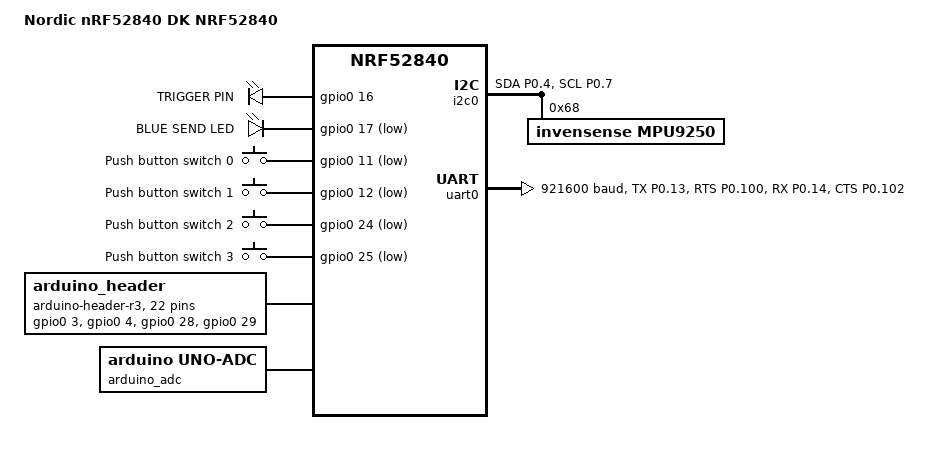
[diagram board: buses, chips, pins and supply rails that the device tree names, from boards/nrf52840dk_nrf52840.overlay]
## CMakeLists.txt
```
# SPDX-License-Identifier: Apache-2.0

cmake_minimum_required(VERSION 3.20.0)
set(BOARD nrf52840dk_nrf52840)
# set(DTC_OVERLAY_FILE overlay_SSI.dts)
find_package(Zephyr REQUIRED HINTS $ENV{ZEPHYR_BASE})
project(imu_cam_sync)

target_sources(app PRIVATE src/main.c)
target_sources(app PRIVATE src/uart_com.c)
target_sources(app PRIVATE src/imu.c)
target_sources(app PRIVATE src/trigger.c)
target_sources(app PRIVATE src/app_state.c)
```

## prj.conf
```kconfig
CONFIG_GPIO=y
# CONFIG_GPIO=y
# STEP 2 - Enable the serial driver in asynchronous mode
CONFIG_SERIAL=y
CONFIG_UART_ASYNC_API=y
CONFIG_SYSTEM_WORKQUEUE_STACK_SIZE=4096

CONFIG_PRINTK=y


#NOTICE: without this zephyr will not boot
CONFIG_BOARD_ENABLE_DCDC=n

CONFIG_SERIAL=y
#CONFIG_UART_INTERRUPT_DRIVEN=y
CONFIG_RTT_CONSOLE=y
CONFIG_USE_SEGGER_RTT=y
CONFIG_STDOUT_CONSOLE=y
CONFIG_UART_CONSOLE=n


#LOGS
CONFIG_LOG=y
CONFIG_LOG_DEFAULT_LEVEL=4


CONFIG_HEAP_MEM_POOL_SIZE=2048
CONFIG_MAIN_STACK_SIZE=4096

##mpu9250
CONFIG_I2C=y
CONFIG_SENSOR=y
CONFIG_MPU9250=y
CONFIG_MPU9250_TRIGGER_NONE=y
CONFIG_MPU9250_MAGN_EN=y
# CONFIG_MPU9250_TRIGGER=n
CONFIG_CBPRINTF_FP_SUPPORT=y
CONFIG_CBPRINTF_FULL_INTEGRAL=y


CONFIG_DEBUG=y
CONFIG_DEBUG_THREAD_INFO=y
CONFIG_DEBUG_OPTIMIZATIONS=y
```

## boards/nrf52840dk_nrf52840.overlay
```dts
/ {
	model = "Nordic nRF52840 DK NRF52840";
	compatible = "nordic,nrf52840-dk-nrf52840";

	chosen {
		zephyr,console = &uart0;
		zephyr,shell-uart = &uart0;
		zephyr,uart-mcumgr = &uart0;
		zephyr,bt-mon-uart = &uart0;
		zephyr,bt-c2h-uart = &uart0;
		zephyr,sram = &sram0;
		zephyr,flash = &flash0;
		zephyr,code-partition = &slot0_partition;
	};

	leds {
		compatible = "gpio-leds";
		led0: led_0 {
			gpios = <&gpio0 16 GPIO_ACTIVE_HIGH>;
			label = "TRIGGER PIN";
		};
		led1: led_1 {
			gpios = <&gpio0 17 GPIO_ACTIVE_LOW>;
			label = "BLUE SEND LED";
		};

	
	};

	// pwmleds {
	// 	compatible = "pwm-leds";
	// 	pwm_led0: pwm_led_0 {
	// 		pwms = <&pwm0 13>;
	// 	};
	// };

	buttons {
		compatible = "gpio-keys";
		button0: button_0 {
			gpios = <&gpio0 11 (GPIO_PULL_UP | GPIO_ACTIVE_LOW)>;
			label = "Push button switch 0";
		};
		button1: button_1 {
			gpios = <&gpio0 12 (GPIO_PULL_UP | GPIO_ACTIVE_LOW)>;
			label = "Push button switch 1";
		};
		button2: button_2 {
			gpios = <&gpio0 24 (GPIO_PULL_UP | GPIO_ACTIVE_LOW)>;
			label = "Push button switch 2";
		};
		button3: button_3 {
			gpios = <&gpio0 25 (GPIO_PULL_UP | GPIO_ACTIVE_LOW)>;
			label = "Push button switch 3";
		};
	};

	arduino_header: connector {
		compatible = "arduino-header-r3";
		#gpio-cells = <2>;
		gpio-map-mask = <0xffffffff 0xffffffc0>;
		gpio-map-pass-thru = <0 0x3f>;
		gpio-map = <0 0 &gpio0 3 0>,	/* A0 */
			   <1 0 &gpio0 4 0>,	/* A1 */
			   <2 0 &gpio0 28 0>,	/* A2 */
			   <3 0 &gpio0 29 0>,	/* A3 */
			   <4 0 &gpio0 30 0>,	/* A4 */
			   <5 0 &gpio0 31 0>,	/* A5 */
			   <6 0 &gpio1 1 0>,	/* D0 */
			   <7 0 &gpio1 2 0>,	/* D1 */
			   <8 0 &gpio1 3 0>,	/* D2 */
			   <9 0 &gpio1 4 0>,	/* D3 */
			   <10 0 &gpio1 5 0>,	/* D4 */
			   <11 0 &gpio1 6 0>,	/* D5 */
			   <12 0 &gpio1 7 0>,	/* D6 */
			   <13 0 &gpio1 8 0>,	/* D7 */
			   <14 0 &gpio1 10 0>,	/* D8 */
			   <15 0 &gpio1 11 0>,	/* D9 */
			   <16 0 &gpio1 12 0>,	/* D10 */
			   <17 0 &gpio1 13 0>,	/* D11 */
			   <18 0 &gpio1 14 0>,	/* D12 */
			   <19 0 &gpio1 15 0>,	/* D13 */
			   <20 0 &gpio0 26 0>,	/* D14 */
			   <21 0 &gpio0 27 0>;	/* D15 */
	};

	arduino_adc: analog-connector {
		compatible = "arduino,uno-adc";
		#io-channel-cells = <1>;
		io-channel-map = <0 &adc 1>,	/* A0 = P0.3 = AIN1 */
				 <1 &adc 2>,	/* A1 = P0.4 = AIN2 */
				 <2 &adc 4>,	/* A2 = P0.28 = AIN4 */
				 <3 &adc 5>,	/* A3 = P0.29 = AIN5 */
				 <4 &adc 6>,	/* A4 = P0.30 = AIN6 */
				 <5 &adc 7>;	/* A5 = P0.31 = AIN7 */
	};

	/* These aliases are provided for compatibility with samples */
	aliases {
		led0 = &led0;
		led1 = &led1;
		// pwm-led0 = &pwm_led0;
		sw0 = &button0;
		sw1 = &button1;
		sw2 = &button2;
		sw3 = &button3;
	};
};

// https://github.com/zephyrproject-rtos/zephyr/issues/27915
// &spi1 {
// 	compatible = "nordic,nrf-spi";
// 	status = "okay";
// 	// draeger module (new):
// 	sck-pin = <32>;
// 	mosi-pin = <11>;
// 	miso-pin = <12>;
// 	cs-gpios = <&gpio1 9 GPIO_ACTIVE_LOW>;
// 	// draeger module (telit):
// //	sck-pin = <6>;
// //	mosi-pin = <14>;
// //	miso-pin = <5>;
// //	cs-gpios = <&gpio0 16 GPIO_ACTIVE_LOW>;
//     // eval board:
// //	sck-pin = <25>;
// //	mosi-pin = <23>;
// //	miso-pin = <24>;
// //	cs-gpios = <&gpio0 18 GPIO_ACTIVE_LOW>;
// 	lora0: sx1261@0 {
// 		compatible = "semtech,sx1261";
// 		reg = <0>;
// 		label = "lora0";
// 		// -- draeger module (new):
// 		reset-gpios = <&gpio0 2 GPIO_ACTIVE_LOW>;
// 		busy-gpios = <&gpio0 28 GPIO_ACTIVE_HIGH>;
// 		dio1-gpios = <&gpio0 5 GPIO_ACTIVE_HIGH>;
// 		spi-max-frequency = <1000000>;
// 		status = "okay";
// 		dio2-tx-enable;
// 	};
// };

&pinctrl {
    i2c0_default_alt: i2c1_default_alt {
       group1 {
          psels = <NRF_PSEL(TWIM_SDA, 0, 4)>,
                  <NRF_PSEL(TWIM_SCL, 0, 7)>;
       };
    };
    i2c0_sleep_alt: i2c1_sleep_alt {
       group1 {
          psels = <NRF_PSEL(TWIM_SDA, 0, 4)>,
                  <NRF_PSEL(TWIM_SCL, 0, 7)>;
          low-power-enable;
       };
    };
 };
 &i2c0 {
	status = "okay";
	compatible = "nordic,nrf-twim";
	pinctrl-0 = < &i2c0_default_alt>;
	pinctrl-1 = < &i2c0_sleep_alt>;
	pinctrl-names = "default", "sleep";

	mpu9250@68 {
		compatible = "invensense,mpu9250";
		friendly-name = "mpu9250";
		reg = <0x68>;
		status = "okay";
	    // label = "invensense_mpu9250";
		// int-gpios = <&gpio0 11 GPIO_ACTIVE_HIGH>;
		accel-dlpf="218.1";
		gyro-sr-div=<1>;
		gyro-dlpf=<250>;
		gyro-fs=<2000>;
		accel-fs=<4>;
	};
};




&pinctrl {
	uart0_default: uart0_default {
		group1 {
			psels = <NRF_PSEL(UART_TX, 0, 13)>,
				<NRF_PSEL(UART_RTS, 0, 100)>;
				
		};
		group2 {
			psels = <NRF_PSEL(UART_RX, 0, 14)>,
				<NRF_PSEL(UART_CTS, 0, 102)>;
			bias-pull-up;
		};
	};

	uart0_sleep: uart0_sleep {
		group1 {
			psels = <NRF_PSEL(UART_TX, 0, 13)>,
				<NRF_PSEL(UART_RX, 0, 14)>,
				<NRF_PSEL(UART_RTS, 0, 100)>,
				<NRF_PSEL(UART_CTS, 0, 102)>;
			low-power-enable;
		};
	};
};


&uart0 {
	status = "okay";
	pinctrl-0 = <&uart0_default>;
	pinctrl-1 = <&uart0_sleep>;
	current-speed = < 921600 >;
	parity = "none";
	
};
```

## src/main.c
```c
#include "imu.h"
#include "trigger.h"
#include "uart_com.h"
#include <SEGGER_RTT.h>
#include <zephyr/devicetree.h>
#include <zephyr/drivers/gpio.h>
#include <zephyr/kernel.h>
#include <zephyr/sys/printk.h>

#include "app_state.h"

// define imu_read_timer

void main(void) {

  SEGGER_RTT_Init();
  k_msleep(3000);
  printk("[main.c/main] starting imu driver ....\n");

  int err = 0;
  err = init_imu();
  if (err) {
    while (1) {
      printk("[main.c/main] ERROR: init_imu failed with error %d\n", err);
      k_sleep(K_SECONDS(5));
    }
  }

  err = init_uart_com();
  if (err) {
    while (1) {
      printk("[main.c/main] ERROR: init_uart_com failed with error %d\n", err);
      k_sleep(K_SECONDS(5));
    }
  }
  err = init_trigger_dev();
  if (err) {
    while (1) {
      printk("[main.c/main] ERROR: init_trigger_dev failed with error %d\n",
             err);
      k_sleep(K_SECONDS(5));
    }
  }
  set_app_initialized(true);

  for (;;) {
    k_sleep(K_SECONDS(120));
  }
  // k_sleep(Z_TIMEOUT_US((uint32_t)(2471)));
}
```

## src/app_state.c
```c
#include "app_state.h"

struct app_state_t app_state = {
    .imu_seq = 0,
    .trigger_seq = 0,
    .trigger_state = TRIGGER_STATE_STOP,
    .error = NO_ERROR,
    .initialized = false,
    .exposure = 12,
    .next_scheduled_imu_trig_read = 0,
    .imu_buff1 =
        {
            .data = {0},
            .state = IMU_BUFF_STATE_SENT,
            .len = 0,
            .timestamp = 0,
            .trig_seq = 0,
            .trig_timestamp = 0,
        },
    .imu_buff2 =
        {
            .data = {0},
            .state = IMU_BUFF_STATE_SENT,
            .len = 0,
            .timestamp = 0,
            .trig_seq = 0,
            .trig_timestamp = 0,
        },
};

void get_current_state(app_state_t *state) {
  memcpy(state, &app_state, sizeof(app_state_t));
};

void set_current_state(app_state_t *state) {
  memcpy(&app_state, state, sizeof(app_state_t));
};

uint64_t get_next_scheduled_imu_trig_read() {
  return app_state.next_scheduled_imu_trig_read;
}

void set_next_scheduled_imu_trig_read(uint64_t next) {
  app_state.next_scheduled_imu_trig_read = next;
}
void set_buffer1(uint8_t *imu_data, size_t len) {
  memcpy(app_state.imu_buff1.data, imu_data, len);
  app_state.imu_buff1.len = len;
};
void get_buffer1(uint8_t *imu_data) {
  memcpy(imu_data, app_state.imu_buff1.data, app_state.imu_buff1.len);
}
size_t get_buffer1_len() { return app_state.imu_buff1.len; }
struct imu_buff_t *get_buffer1_ptr() { return &app_state.imu_buff1; }

void set_buffer1_state(uint8_t state) { app_state.imu_buff1.state = state; };
uint8_t get_buffer1_state() { return app_state.imu_buff1.state; };
struct imu_buff_t *get_buffer2_ptr() { return &app_state.imu_buff2; }

uint32_t get_buffer1_timestamp() { return app_state.imu_buff1.timestamp; }
uint64_t get_buffer1_trig_seq() { return app_state.imu_buff1.trig_seq; }
uint32_t get_buffer1_trig_timestamp() {
  return app_state.imu_buff1.trig_timestamp;
}

void set_buffer2(uint8_t *imu_data, size_t len) {
  memcpy(app_state.imu_buff2.data, imu_data, len);
  app_state.imu_buff2.len = len;
};
void get_buffer2(uint8_t *imu_data) {
  memcpy(imu_data, app_state.imu_buff2.data, app_state.imu_buff2.len);
}
size_t get_buffer2_len() { return app_state.imu_buff2.len; }

void set_buffer2_state(uint8_t state) { app_state.imu_buff2.state = state; };
uint8_t get_buffer2_state() { return app_state.imu_buff2.state; };

/***
 * @brief Set trigger state
 * @param state TRIGGER_STATE_STOP or TRIGGER_STATE_START
 * @return state if state is valid, otherwise return current state
 */
uint8_t set_trigger_state(uint8_t state) {
  if (state == TRIGGER_STATE_STOP || state == TRIGGER_STATE_START) {
    app_state.trigger_state = state;
    return state;
  } else {
    return app_state.trigger_state;
  }
};

/***
 * @brief Set exposure time in milliseconds
 * @param exposure_ms Exposure time in milliseconds
 * @return exposure_ms if exposure_ms is in range, otherwise return min or max
 */
uint32_t set_exposure(uint32_t exposure_ms) {
  uint32_t exp_min = IMU_READ_TIME_US / 1000;
  uint32_t exp_max = (TRIGGER_INTERVAL_US - 500) / 1000;
  if (exposure_ms < exp_min) {
    app_state.exposure = exp_min;
    return exp_min;
  } else if (exposure_ms > exp_max) {
    app_state.exposure = exp_max;
    return exp_max;
  } else {
    app_state.exposure = exposure_ms;
    return exposure_ms;
  }
}

uint32_t get_exposure() { return app_state.exposure; };
uint8_t get_trigger_state() { return app_state.trigger_state; };

uint64_t increase_imu_seq() {
  app_state.imu_seq++;
  return app_state.imu_seq;
};
uint64_t increase_trigger_seq() {
  app_state.trigger_seq++;
  return app_state.trigger_seq;
};
uint64_t get_imu_seq() { return app_state.imu_seq; };
uint64_t get_trigger_seq() { return app_state.trigger_seq; };

bool is_app_initialized() { return app_state.initialized; };
void set_app_initialized(bool state) { app_state.initialized = state; };
```

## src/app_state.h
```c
#ifndef APP_STATE_H_
#define APP_STATE_H_

#include <SEGGER_RTT.h>
#include <stddef.h>
#include <stdio.h>
#include <string.h>
#include <zephyr/kernel.h>
#include <zephyr/logging/log.h>
#include <zephyr/sys/printk.h>

#define TOGGLE_DELAY_US 300
#define TRIG_SEQ_DEVISOR 25
#define IMU_READ_TIME_US                                                       \
  2380 // measured experimentally and took an average of 100 readings
#define IMU_DATA_MAX_LEN 128
#define TRIGGER_INTERVAL_US 40 * 1000

#define UART_THREAD_PRIORITY 4
#define IMU_THREAD_PRIORITY 3
#define TRIGGER_THREAD_PRIORITY 2

// define commands
// define trigger commands:
#define CMD_SET_EXPOSURE "CMD_SET_EXPOSURE" // uint16 value
#define CMD_GET_EXPOSURE "CMD_GET_EXPOSURE" // uint16 value
#define CMD_SET_TRIGGER "CMD_SET_TRIGGER"   // uint8 value
#define CMD_GET_TRIGGER "CMD_GET_TRIGGER"   // uint8 value
#define CMD_GET_ERROR "CMD_GET_ERROR"       // uint8 value

// define response headers
#define RESP_SET_EXPOSURE "RESP_SET_EXPOSURE" // uint16 value
#define RESP_GET_EXPOSURE "RESP_GET_EXPOSURE" // uint16 value
#define RESP_SET_TRIGGER "RESP_SET_TRIGGER"   // uint8 value
#define RESP_GET_TRIGGER "RESP_GET_TRIGGER"   // uint8 value
#define RESP_GET_ERROR "RESP_GET_ERROR"       // uint8 value

enum ErrorCodes {
  NO_ERROR,
  UART_ERROR,
  IMU_ERROR,
  TRIGGER_ERROR,
  UNKNOWN_ERROR
};

enum TriggerState {
  TRIGGER_STATE_STOP = 0,
  TRIGGER_STATE_START = 1,
};

enum IMU_Buff_State { IMU_BUFF_STATE_WAITING, IMU_BUFF_STATE_SENT };
struct imu_buff_t {
  uint8_t data[IMU_DATA_MAX_LEN];
  uint8_t state;
  size_t len;
  uint32_t timestamp;
  uint64_t trig_seq;
  uint64_t trig_timestamp;
};
typedef struct app_state_t {
  bool initialized;
  uint8_t error;
  uint8_t trigger_state;
  uint64_t next_scheduled_imu_trig_read;
  uint32_t exposure; // in milliseconds [ms]
  uint64_t imu_seq;
  uint64_t trigger_seq;
  struct imu_buff_t imu_buff1; // has higher priority to send in comp. to
                               // imu_buff2 to use for sending when trigger sent
  struct imu_buff_t imu_buff2; // lower priority to be used for imu_data

} app_state_t;

void get_current_state(app_state_t *state);
void set_current_state(app_state_t *state);

uint64_t get_next_scheduled_imu_trig_read();
void set_next_scheduled_imu_trig_read(uint64_t next);

void set_buffer1(uint8_t *imu_data, size_t len);
void get_buffer1(uint8_t *imu_data);
size_t get_buffer1_len();
uint32_t get_buffer1_timestamp();
uint64_t get_buffer1_trig_seq();
uint32_t get_buffer1_trig_timestamp();
struct imu_buff_t *get_buffer1_ptr();

void set_buffer1_state(uint8_t state);
uint8_t get_buffer1_state();

void set_buffer2(uint8_t *imu_data, size_t len);
void get_buffer2(uint8_t *imu_data);
size_t get_buffer2_len();
struct imu_buff_t *get_buffer2_ptr();

void set_buffer2_state(uint8_t state);
uint8_t get_buffer2_state();

uint8_t set_trigger_state(uint8_t state);
uint8_t get_trigger_state();

uint32_t set_exposure(uint32_t exposure);
uint32_t get_exposure();

uint64_t increase_imu_seq();
uint64_t increase_trigger_seq();

uint64_t get_imu_seq();
uint64_t get_trigger_seq();

bool is_app_initialized();
void set_app_initialized(bool state);

#endif /* APP_STATE_H_ */
```

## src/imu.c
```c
#include "imu.h"
#include "app_state.h"

// LOG_MODULE_DECLARE(imu, LOG_LEVEL_WRN);
static struct k_work_delayable imu_read_work;
const struct device *mpu9250_dev = DEVICE_DT_GET_ONE(invensense_mpu9250);

static inline void encode_int32(int32_t n, uint8_t *bytes) {
  bytes[0] = (n >> 24) & 0xFF;
  bytes[1] = (n >> 16) & 0xFF;
  bytes[2] = (n >> 8) & 0xFF;
  bytes[3] = (n >> 0) & 0xFF;
}

static inline void put_sensor_val_to_buf(const struct sensor_value *val,
                                         uint8_t *buf, int i) {
  // put valX  //  "IMU" + imu_seq + imu_timestamp -> 19 bytes
  encode_int32(val[0].val1, buf + 3 + 16 + 24 * i);
  encode_int32(val[0].val2, buf + 3 + 16 + 24 * i + 4); // +8 bytes
  // put valY
  encode_int32(val[1].val1, buf + 3 + 24 + 24 * i);
  encode_int32(val[1].val2, buf + 3 + 24 + 24 * i + 4); // +8 bytes
  // put valZ
  encode_int32(val[2].val1, buf + 3 + 32 + 24 * i);
  encode_int32(val[2].val2, buf + 3 + 32 + 24 * i + 4); // +8 bytes
}
uint64_t last_imu_read = 0;
int process_mpu9250(bool triggered) {
  if (mpu9250_dev == NULL) {
    printk("mpu9250_dev is NULL");
    return -100;
  }

  uint8_t imu_data[IMU_DATA_MAX_LEN];
  memset(imu_data, 0, IMU_DATA_MAX_LEN);
  // struct sensor_value temperature;
  struct sensor_value accel[3];
  struct sensor_value gyro[3];
  struct sensor_value magn[3];

  uint64_t imu_timestamp = k_ticks_to_us_floor64(k_uptime_ticks());

  // return if last reading happened was less than the time needed to read imu
  // data (IMU_READ_TIME_US) + around 240 us (sending time)
  if (get_next_scheduled_imu_trig_read() - imu_timestamp <
          IMU_READ_TIME_US + 240 &&
      !triggered) {
    // printk("returning early\n");
    return -100;
  } else {
    // printk("diff %lld \n", imu_timestamp - last_imu_read);
    last_imu_read = imu_timestamp;
  }
  int rc = sensor_sample_fetch(mpu9250_dev);
  // uint32_t end = k_cycle_get_32();
  // uint32_t process_delay_us = k_cyc_to_us_floor32(end - start);

  if (rc == 0) {
    rc = sensor_channel_get(mpu9250_dev, SENSOR_CHAN_ACCEL_XYZ, accel);
  }
  if (rc == 0) {
    rc = sensor_channel_get(mpu9250_dev, SENSOR_CHAN_GYRO_XYZ, gyro);
  }
  if (rc == 0) {
    rc = sensor_channel_get(mpu9250_dev, SENSOR_CHAN_MAGN_XYZ, magn);
  }

  if (rc == 0) {
    memcpy(imu_data, "IMU", 3); // 3 bytes
    uint64_t imu_seq = increase_imu_seq();
    sys_put_be64(imu_seq, imu_data + 3);        // + 8 bytes
    sys_put_be64(imu_timestamp, imu_data + 11); // +8 bytes

    for (int i = 0; i < 3; i++) {
      switch (i) {
      case 0:
        put_sensor_val_to_buf(accel, imu_data, i);
        break;
      case 1:
        put_sensor_val_to_buf(gyro, imu_data, i);
        break;
      case 2:
        put_sensor_val_to_buf(magn, imu_data, i);
        break;

      default:
        break;
      }
    }
    // 19 + 24*3 = 91 bytes
    if (triggered) {
      imu_data[91] = triggered;                                   // 1 byte
      sys_put_be64(get_buffer1_trig_seq(), imu_data + 92);        // 8 bytes
      sys_put_be64(get_buffer1_trig_timestamp(), imu_data + 100); // 8 bytes
      set_buffer1(imu_data, 108);
      set_buffer1_state(IMU_BUFF_STATE_WAITING);
      submit_send_trigger();
    } else {
      imu_data[91] = triggered;
      set_buffer2(imu_data, 92);
      set_buffer2_state(IMU_BUFF_STATE_WAITING);
      submit_send_imu();
    }

    // imu_data[80] = triggered;                      // 1 byte
    // encode_int32(process_delay_us, imu_data + 81); // 4 bytes --> 85 bytes
    // printk("process delay [us]: %d\n", process_delay_us);
  }
  return rc;
}

void imu_read_handler_triggered(struct k_work *work) { process_mpu9250(true); }

void schedule_imu_read_triggered(uint32_t delay_us) {
  k_work_reschedule(&imu_read_work, K_USEC(delay_us));
}

int init_imu() {
  printk("initializing imu device \n");
  // const struct device *mpu9250 = DEVICE_DT_GET(DT_NODELABEL(i2c0));

  if (!device_is_ready(mpu9250_dev)) {
    printk("Device mpu9250 is not ready!\n");
    return -1;
  } else {
    printk("Device mpu9250 is ready!\n");
  }
  k_work_init_delayable(&imu_read_work, imu_read_handler_triggered);
  return 0;
}

void imu_entry(void) {
  SEGGER_RTT_Init();
  k_msleep(1000);
  printk("imu thread is started\n");
  while (!is_app_initialized()) {
    k_msleep(800);
  }
  while (1) {
    process_mpu9250(false);
    k_sleep(
        Z_TIMEOUT_US((uint32_t)(2481))); // TODO: see if this time still valid
  }
}

K_THREAD_DEFINE(imu_thread_id, 1024 * 2, imu_entry, NULL, NULL, NULL,
                IMU_THREAD_PRIORITY, 0, 0);
```

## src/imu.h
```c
#ifndef IMU_H_
#define IMU_H_

#include <SEGGER_RTT.h>

#include "uart_com.h"
#include <stddef.h>
#include <stdio.h>
#include <string.h>
#include <sys/_timeval.h>
#include <zephyr/device.h>
#include <zephyr/devicetree.h>
#include <zephyr/drivers/sensor.h>
#include <zephyr/kernel.h>
#include <zephyr/logging/log.h>
#include <zephyr/sys/byteorder.h>
#include <zephyr/sys/printk.h>
#include <zephyr/timing/timing.h>
int init_imu();
typedef uint8_t (*received_data_cb_t)(uint64_t seq, uint32_t delay_us);
int process_mpu9250(bool triggered);
void schedule_imu_read_triggered(uint32_t delay_us);

#endif // IMU_H_
```

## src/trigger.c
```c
#include "trigger.h"
#include "app_state.h"
#include "imu.h"

/* 1000 msec = 1 sec */
#define SLEEP_TIME_MS 1000

/* The devicetree node identifier for the "led0" alias. */
#define TRIGGER_NODE DT_ALIAS(led0)

static const struct gpio_dt_spec trigger =
    GPIO_DT_SPEC_GET(TRIGGER_NODE, gpios);

static struct k_work_delayable trigger_low_work;
static struct k_work_delayable trigger_high_work;

void set_trigger_low_handler(struct k_work *work) {
  gpio_pin_set_dt(&trigger, 0);
}
void set_trigger_high_handler(struct k_work *work) {
  gpio_pin_set_dt(&trigger, 1);
}
void set_trigger_high_now() { gpio_pin_set_dt(&trigger, 1); }

int init_trigger_dev() {

  if (!device_is_ready(trigger.port)) {

    printk("Error: %s device is not ready", trigger.port->name);
    return -1;
  } else {
    printk(" %s device is ready! \n", trigger.port->name);
    int ret = gpio_pin_configure_dt(&trigger, GPIO_OUTPUT_LOW);
    printk(" gpio configure ret: %d \n", ret);
    k_work_init_delayable(&trigger_low_work, set_trigger_low_handler);
    k_work_init_delayable(&trigger_high_work, set_trigger_high_handler);

    return ret;
  }
}

void schedule_trigger_low(uint32_t delay_us) {
  k_work_reschedule(&trigger_low_work, K_USEC(delay_us));
};

void schedule_trigger_high(uint32_t delay_us) {
  k_work_reschedule(&trigger_high_work, K_USEC(delay_us));
};

void trigger_entry(void) {
  // wait for app to be initialized and exposure to be
  printk("[trigger.c] starting trigger_entry \n");
  while (is_app_initialized() == false || get_exposure() == -1) {
    k_msleep(500);
  }
  uint64_t start = 0;
  uint64_t end = 0;
  struct imu_buff_t *buff1 = get_buffer1_ptr();

  if (buff1 == NULL) {
    while (1) {
      printk("[trigger.c] PANIC: buff1 is null!!!\n");
      k_sleep(K_SECONDS(5));
    }
  }
  while (1) {
    if (get_trigger_state() == TRIGGER_STATE_START) {
      start = k_uptime_ticks();
      set_trigger_high_now();
      schedule_trigger_low(TOGGLE_DELAY_US);
      // schedule imu_read
      uint32_t exposure_ms = get_exposure();
      uint32_t time_delay_us =
          (double)exposure_ms * 1000 / 2 - (double)IMU_READ_TIME_US / 2;
      buff1->trig_timestamp = k_ticks_to_us_floor64(start);
      buff1->trig_seq++;
      set_next_scheduled_imu_trig_read(buff1->trig_timestamp + time_delay_us);
      schedule_imu_read_triggered(time_delay_us);
      // TODO: should we already send imu data here?
      k_sleep(K_USEC(TRIGGER_INTERVAL_US - 108));
      // k_msleep(4);
      // end = k_ticks_to_us_floor64(k_uptime_ticks());
      // printk("trigger interval: %d us\n", k_cyc_to_us_floor32(end - start));
    } else {
      // wait and check trigger_state after 10ms
      k_msleep(10);
    }
  }
}

K_THREAD_DEFINE(trigger_thread_id, 2048, trigger_entry, NULL, NULL, NULL,
                TRIGGER_THREAD_PRIORITY, 0, 0);
```

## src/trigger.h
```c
#ifndef TRIGGER_H_
#define TRIGGER_H_

#include <SEGGER_RTT.h>
#include <zephyr/devicetree.h>
#include <zephyr/drivers/gpio.h>
#include <zephyr/kernel.h>
#include <zephyr/sys/printk.h>

int init_trigger_dev();
void schedule_trigger_low(uint32_t delay_us);
void schedule_trigger_high(uint32_t delay_us);
void set_trigger_high_now();
#endif
```

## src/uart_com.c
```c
/**
 * @file uart_com.c
 * @author kurosh zamani (kurosh.zamany@gmail.com)
 * @brief
 * @version 0.1
 * @date 2023-04-20
 *
 * @copyright Copyright (c) 2023
 *
 */

#include "uart_com.h"
#include "app_state.h"

const struct device *uart = DEVICE_DT_GET(DT_NODELABEL(uart0));
static uint8_t tx_buf[TX_BUFF_SIZE] = {0};
static uint8_t rx_buf[RECEIVE_BUFF_SIZE] = {0};
static const uint8_t end_of_msg[END_OF_MSG_LEN] = END_OF_MSG;
static struct received_msg_t received_msg = {.msg = {0}, .len = 0};
static struct k_work send_trigger_work;
static struct k_work send_imu_work;
static struct k_work_delayable send_response_work;

static struct app_response_queue_t response_queue = {
    .head = 0,
    .queue = {
        {.resp = {0}, .len = 0, .state = UART_RESPONSE_SENT},
        {.resp = {0}, .len = 0, .state = UART_RESPONSE_SENT},
        {.resp = {0}, .len = 0, .state = UART_RESPONSE_SENT},
    }};

void send_imu_handler(struct k_work *work) {

  if (get_buffer2_state() == IMU_BUFF_STATE_WAITING) {
    send_data_uart(2);
    set_buffer2_state(IMU_BUFF_STATE_SENT);
  }
}

void send_trigger_handler(struct k_work *work) {
  if (get_buffer1_state() == IMU_BUFF_STATE_WAITING) {
    send_data_uart(1);
    set_buffer1_state(IMU_BUFF_STATE_SENT);
  }
}

void submit_send_imu() { k_work_submit(&send_imu_work); }
void submit_send_trigger() { k_work_submit(&send_trigger_work); }

void send_response_handler(struct k_work *work) {
  bool sent = false;
  for (uint8_t i = 0; i < RESPONSE_QUEUE_SIZE; i++) {
    if (response_queue.queue[i].state == UART_RESPONSE_WAITING) {
      // if no response is sent yet, send it
      if (!sent) {
        // add END_OF_MSG to the end of the response
        size_t len = response_queue.queue[i].len + END_OF_MSG_LEN;
        memcpy(&response_queue.queue[i].resp[response_queue.queue[i].len],
               end_of_msg, END_OF_MSG_LEN);
        uart_tx(uart, response_queue.queue[i].resp, len, TX_BUFF_TIMEOUT_US);
        printk("[uart_com.c] send_response_handler:len= %d,  %s\n",
               response_queue.queue[i].len, response_queue.queue[i].resp);
        k_msleep(10);

        // for (int j = 0; j < len; j++)
        //   printk("0x%x ", response_queue.queue[i].resp[j]);
        // printk("\n");
        // k_msleep(10);
        response_queue.queue[i].state = UART_RESPONSE_SENT;
        memset(response_queue.queue[i].resp, 0,
               sizeof(response_queue.queue[i].resp));
        response_queue.queue[i].len = 0;
        sent = true;
      }

      //  else {
      //   // if already sent once and there is another response in the queue
      //   // schedule it to be sent later
      //   printk("[uart_com.c] send_response_handler: rescheduling the next "
      //          "response item\n");
      //   k_work_reschedule(&send_response_work,
      //   K_MSEC(UART_RESPONSE_DELAY_MS));
      // }
    }
  }
}

static void parse_command(uint8_t *data, size_t len, size_t offset) {

  size_t new_len = received_msg.len + len;
  if (new_len > RECEIVE_BUFF_SIZE) {
    printk("[uart_com.c/parse_command] WARN parse_command: buffer overflow\n");
    // reset the buffer
    received_msg.len = 0;
    memset(received_msg.msg, 0, sizeof(received_msg.msg));
    return;
  }
  memcpy(&received_msg.msg[received_msg.len], data + offset, len);
  received_msg.len = new_len;
  // check if the message is complete
  bool msg_complete = false;
  size_t idx = new_len - END_OF_MSG_LEN;
  if (strncmp(&received_msg.msg[idx], end_of_msg, END_OF_MSG_LEN) == 0)
    msg_complete = true;

  if (!msg_complete) {
    return;
  }

  bool response_scheduled = false;
  printk("\n-------------------------------\n");
  printk("[uart_com.c] parse_command: %s\n", data);
  // for (int i = 0; i < len; i++)
  //   printk("%x ", data[i]);
  // printk("\n");

  if (strncmp(received_msg.msg, CMD_SET_EXPOSURE, 16) == 0) {
    uint32_t exposure_ms = sys_get_be32(&data[16]);
    printk("[uart_com.c] parse_command:CMD_SET_EXPOSURE = %d\n", exposure_ms);
    uint32_t new_exposure = set_exposure(exposure_ms);
    for (uint8_t i = 0; i < RESPONSE_QUEUE_SIZE; i++) {
      if (response_queue.queue[i].state == UART_RESPONSE_SENT) {
        memcpy(response_queue.queue[i].resp, RESP_SET_EXPOSURE, 17); // 17 bytes
        sys_put_be32(new_exposure,
                     &response_queue.queue[i].resp[17]); // + 4 bytes
        response_queue.queue[i].len = 21;
        response_queue.queue[i].state = UART_RESPONSE_WAITING;
        response_scheduled = true;
        break;
      }
    }
  } else if (strncmp(received_msg.msg, CMD_GET_EXPOSURE, 16) == 0) {
    uint32_t exposure_ms = get_exposure();
    printk("[uart_com.c] parse_command:CMD_GET_EXPOSURE = %d\n", exposure_ms);
    for (uint8_t i = 0; i < RESPONSE_QUEUE_SIZE; i++) {
      if (response_queue.queue[i].state == UART_RESPONSE_SENT) {
        memcpy(response_queue.queue[i].resp, RESP_GET_EXPOSURE, 17); // 17 bytes
        sys_put_be32(exposure_ms,
                     &response_queue.queue[i].resp[17]); // + 4 bytes

        response_queue.queue[i].len = 21;
        response_queue.queue[i].state = UART_RESPONSE_WAITING;
        response_scheduled = true;
        break;
      }
    }
  } else if (strncmp(received_msg.msg, CMD_SET_TRIGGER, 15) == 0) {
    uint8_t trigger_mode = received_msg.msg[15];
    printk("[uart_com.c] parse_command:CMD_SET_TRIGGER = %d\n", trigger_mode);
    uint8_t new_trigger_mode = set_trigger_state(trigger_mode);
    for (uint8_t i = 0; i < RESPONSE_QUEUE_SIZE; i++) {
      if (response_queue.queue[i].state == UART_RESPONSE_SENT) {
        memcpy(response_queue.queue[i].resp, RESP_SET_TRIGGER, 16); // 16 bytes
        response_queue.queue[i].resp[16] = new_trigger_mode;        // + 1 byte
        response_queue.queue[i].len = 17;
        response_queue.queue[i].state = UART_RESPONSE_WAITING;
        response_scheduled = true;
        break;
      }
    }
  } else if (strncmp(received_msg.msg, CMD_GET_TRIGGER, 15) == 0) {
    uint8_t trigger_mode = get_trigger_state();
    printk("[uart_com.c] parse_command:CMD_GET_TRIGGER = %d\n", trigger_mode);
    for (uint8_t i = 0; i < RESPONSE_QUEUE_SIZE; i++) {
      if (response_queue.queue[i].state == UART_RESPONSE_SENT) {
        memcpy(response_queue.queue[i].resp, RESP_GET_TRIGGER, 16); // 16 bytes
        response_queue.queue[i].resp[16] = trigger_mode;            // + 1 byte
        response_queue.queue[i].len = 17;
        response_queue.queue[i].state = UART_RESPONSE_WAITING;
        response_scheduled = true;
        break;
      }
    }
  } else {
    printk(
        "[uart_com.c/parse_command] parse_command: WARN: unknown command \n");
    return;
  }

  // reset message
  received_msg.len = 0;
  memset(received_msg.msg, 0, RECEIVE_BUFF_SIZE);

  if (!response_scheduled) {
    printk("[uart_com.c/parse_command] parse_command: WARN: response queue "
           "is full \n");
    return;
  }
  k_work_reschedule(&send_response_work, K_MSEC(UART_RESPONSE_DELAY_MS));
}

static void uart_callback(const struct device *dev, struct uart_event *evt,
                          void *user_data) {
  switch (evt->type) {
  case UART_RX_RDY:
    if (user_data != NULL) {
      printk("[uart_com.c] uart_callback: WARN: user_data call is not "
             "implemented  yet!"
             "\n");
    }
    printk("[uart_com.c/ uart_callback] offset: %d \n", evt->data.rx.offset);
    parse_command(evt->data.rx.buf, evt->data.rx.len, evt->data.rx.offset);

    uart_rx_disable(dev);
    break;
  case UART_RX_DISABLED:
    uart_rx_enable(dev, rx_buf, sizeof rx_buf, RECEIVE_TIMEOUT_US);
  default:
    break;
  }
}

int init_uart_com() {
  int ret;
  printk("[uart_com.c] init_uart_com ... \n");
  if (!device_is_ready(uart)) {
    printk("[uart_com.c] uart device is not ready \n");
    return -1;
  }
  printk("[uart_com.c] uart device is ready \n");
  k_msleep(1000);
  struct uart_config uart_cfg = {
      .baudrate = BAUDRATE,
      .parity = UART_CFG_PARITY_NONE,
      .stop_bits = UART_CFG_STOP_BITS_1,
      .data_bits = UART_CFG_DATA_BITS_8,
      .flow_ctrl = UART_CFG_FLOW_CTRL_NONE,
  };
  ret = uart_configure(uart, &uart_cfg);
  if (ret) {
    printk("[uart_com.c] uart_configure failed: %d\n", ret);
  } else {
    printk("[uart_com.c] uart_configure success \n");
  }

  ret = uart_callback_set(uart, uart_callback, NULL);
  if (ret != 0) {
    printk("[uart_com.c] uart_callback_set failed \n");
    return ret;
  }
  printk("[uart_com.c] uart_callback_set set \n");
  uart_rx_enable(uart, rx_buf, sizeof rx_buf, RECEIVE_TIMEOUT_US);
  // initializing send response work
  k_work_init_delayable(&send_response_work, send_response_handler);
  k_work_init(&send_trigger_work, send_trigger_handler);
  k_work_init(&send_imu_work, send_imu_handler);

  k_msleep(100);
  printk("[uart_com.c] uart_callback_set success \n");
  return 0;
}

int send_data_uart(uint8_t buff_num) {
  // printk("[uart_com.c] send_data_uart ... \n");
  int len = buff_num == 1 ? get_buffer1_len() : get_buffer2_len();
  int ret;
  int _len = len + END_OF_MSG_LEN;
  if (_len > TX_BUFF_SIZE) {
    printk("ERROR: len is bigger than TX_BUFF_SIZE \n");
    return -100;
  }

  memset(tx_buf, 0, sizeof(tx_buf));
  if (buff_num == 1) {
    get_buffer1(tx_buf);
  } else if (buff_num == 2) {
    get_buffer2(tx_buf);
  } else {
    printk("ERROR: expected buff_num 1 or 2  got %d\n", buff_num);
    return -200;
  }
  memcpy(tx_buf + len, end_of_msg, END_OF_MSG_LEN);
  // printk("tx_buf: \n");
  // for (int i = 0; i < _len; i++) {
  //   printk("0x%x - ", tx_buf[i]);
  //   k_msleep(2);
  // }
  // printk("\n");
  ret = uart_tx(uart, tx_buf, _len, TX_BUFF_TIMEOUT_US);
  return ret;
}

void uart_entry(void) {
  SEGGER_RTT_Init();
  k_msleep(500);
  printk("[uart_com.c] uart_entry ... \n");
  while (!is_app_initialized()) {
    k_msleep(500);
  }

  while (1) {
    if (get_buffer1_state() == IMU_BUFF_STATE_WAITING) {
      send_data_uart(1);
      set_buffer1_state(IMU_BUFF_STATE_SENT);
    }
    if (get_buffer2_state() == IMU_BUFF_STATE_WAITING) {
      send_data_uart(2);
      set_buffer2_state(IMU_BUFF_STATE_SENT);
    }
    k_sleep(K_USEC(200));
  }
}

// K_THREAD_DEFINE(uart_thread_id, 2 * 1024, uart_entry, NULL, NULL, NULL,
//                 UART_THREAD_PRIORITY, 0, 0);
```

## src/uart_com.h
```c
#ifndef UART_COM_H_
#define UART_COM_H_

#include <SEGGER_RTT.h>
#include <stdio.h>
#include <string.h>
#include <zephyr/device.h>
#include <zephyr/devicetree.h>
#include <zephyr/drivers/uart.h>
#include <zephyr/kernel.h>
#include <zephyr/sys/byteorder.h>
#include <zephyr/sys/printk.h>

#define RECEIVE_TIMEOUT_US                                                     \
  18000 // setting this too low will cause UART_RX_RDY to be triggered in
        // between the transmission of a message then you have to take care of
        // the offset in rx buffer to get the entire message
#define RECEIVE_BUFF_SIZE 128
#define TX_BUFF_SIZE 256
#define TX_BUFF_TIMEOUT_US 100 * 1000
#define BAUDRATE 921600
#define UART_RESPONSE_DELAY_MS 20
#define END_OF_MSG_LEN 8
#define END_OF_MSG                                                             \
  { 0x45, 0x4E, 0x44, 0x4F, 0x46, 0x4D, 0x53, 0x47 }

enum UARTResponseState { UART_RESPONSE_WAITING, UART_RESPONSE_SENT };

#define RESPONSE_QUEUE_SIZE 3
// struct
struct app_response_t {
  uint8_t resp[128];
  size_t len;
  uint8_t state;
};

struct app_response_queue_t {
  struct app_response_t queue[RESPONSE_QUEUE_SIZE];
  uint8_t head;
};

struct received_msg_t {
  uint8_t msg[RECEIVE_BUFF_SIZE];
  size_t len;
};

int init_uart_com();
int send_data_uart(uint8_t buff_num);
void submit_send_imu();
void submit_send_trigger();

#endif
```
